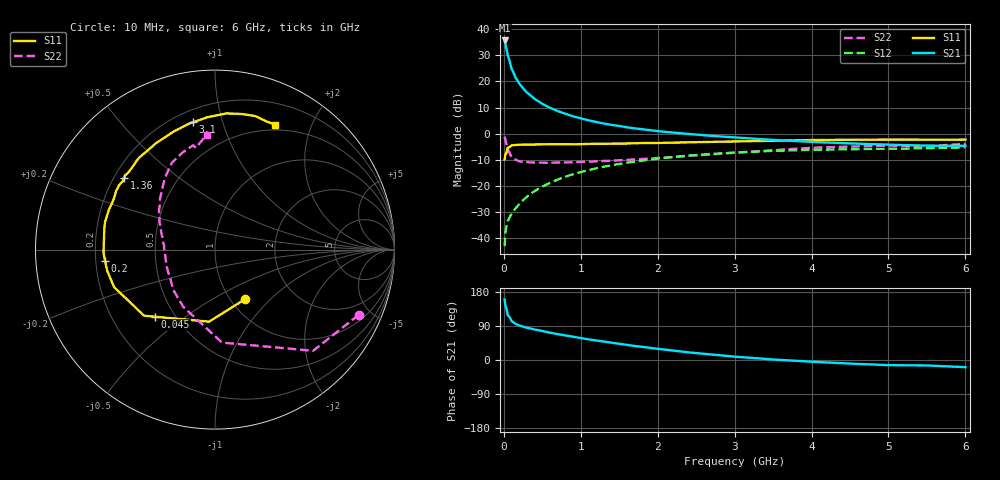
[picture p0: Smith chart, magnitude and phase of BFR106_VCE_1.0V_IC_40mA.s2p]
! Infineon Technologies  Discrete & RF Semiconductors
! BFR106
! VCE =  1.0 V,  IC =  40 mA
! Common Emitter S-Parameters:  Nov 2015
# GHz  S  MA  R  50
!  f  S11  S21  S12  S22
! GHz  MAG  ANG  MAG  ANG  MAG  ANG  MAG  ANG
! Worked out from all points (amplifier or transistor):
!   210 points, 10 MHz to 6 GHz, reference 50 ohm
!   highest |S21| = 35.7 dB at 10 MHz (marker M1)
!   |S21| within 3 dB of that: start of sweep to 32.22 MHz
!   unconditionally stable (mu >= 1): 234.9 MHz to end of sweep
!   at 185 MHz: K = 0.94, MSG = 23.7 dB, |S12| = -27.4 dB
!   at 1.52 GHz: K = 1.07, MAG = 5.5 dB, |S12| = -11.4 dB
!   at 6 GHz: K = 1.02, MAG = -0.6 dB, |S12| = -5.2 dB
!   S11 on the Smith chart (normalised r, x): 10 MHz: 1.16, -0.72; 45 MHz: 0.39, -0.39; 200 MHz: 0.24, -0.05; 1.36 GHz: 0.24, +0.33; 3.1 GHz: 0.27, +0.80; 6 GHz: 0.43, +1.50
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0.01  0.3232 -58.9  60.74 159.6  0.0071 75.2  0.8795 -24.4
0.02  0.4029 -94.7  52.41 144.0  0.013 64.6  0.7852 -45.9
0.045  0.5018 -131.8  34.4 124.6  0.0198 53.5  0.5399 -76.8
0.05  0.5401 -137.0  31.58 118.3  0.0212 52.2  0.5194 -85.7
0.1  0.5998 -159.6  17.64 102.7  0.0294 55.3  0.3646 -119.0
0.15  0.612 -168.9  12.02 95.6  0.037 58.4  0.3228 -136.3
0.2  0.6158 -174.0  9.135 91.1  0.0452 62.3  0.2974 -146.5
0.24  0.6202 -177.4  7.669 88.5  0.0518 64.0  0.2906 -152.9
0.26  0.6212 -178.8  7.068 87.2  0.0553 64.8  0.2887 -155.5
0.3  0.6204 179.0  6.126 85.1  0.0627 66.3  0.2863 -159.3
0.4  0.6224 173.8  4.637 80.4  0.08 67.6  0.2816 -166.8
0.5  0.6271 170.0  3.731 76.4  0.0977 67.7  0.279 -172.0
0.6  0.6316 166.0  3.132 72.1  0.1152 67.2  0.279 -175.5
0.7  0.6303 162.4  2.717 68.2  0.133 66.2  0.282 -178.5
0.8  0.6318 159.2  2.397 64.7  0.1507 65.0  0.2843 178.3
1.02  0.6338 151.7  1.93 57.3  0.1884 61.8  0.2894 173.3
1.36  0.6452 141.6  1.51 46.8  0.2437 56.0  0.3035 166.0
2.02  0.668 124.1  1.115 29.1  0.3367 44.1  0.346 153.2
3.1  0.7198 99.9  0.833 7.4  0.4438 25.6  0.4426 132.0
4.1  0.7623 84.0  0.689 -5.5  0.4961 10.9  0.5445 115.0
5.1  0.7752 72.3  0.613 -13.8  0.5183 -0.3  0.5902 101.6
6  0.7727 64.3  0.589 -18.9  0.5495 -8.8  0.6417 94.2
